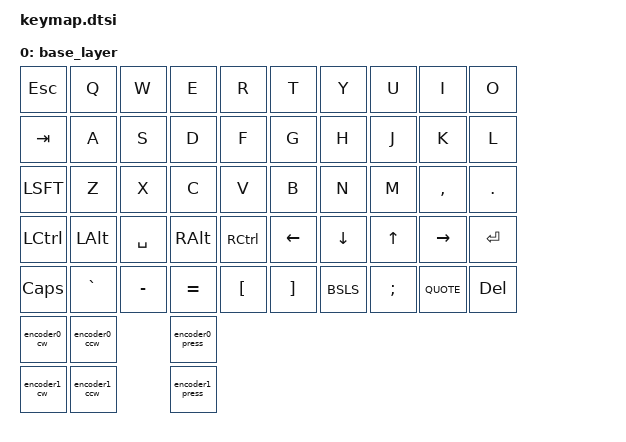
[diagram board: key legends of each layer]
/ {
    keymap {
        compatible = "zmk,keymap";

        base_layer {
            bindings = <
                &kp ESC    &kp Q     &kp W     &kp E     &kp R     &kp T     &kp Y     &kp U     &kp I     &kp O
                &kp TAB    &kp A     &kp S     &kp D     &kp F     &kp G     &kp H     &kp J     &kp K     &kp L
                &kp LSFT   &kp Z     &kp X     &kp C     &kp V     &kp B     &kp N     &kp M     &kp COMMA &kp DOT
                &kp LCTRL  &kp LALT  &kp SPACE &kp RALT  &kp RCTRL &kp LEFT  &kp DOWN  &kp UP    &kp RIGHT &kp ENTER
                &kp CAPS   &kp GRAVE &kp MINUS &kp EQUAL &kp LBKT  &kp RBKT  &kp BSLS  &kp SEMI  &kp QUOTE &kp DEL
                &encoder0_cw &encoder0_ccw &encoder0_press
                &encoder1_cw &encoder1_ccw &encoder1_press
            >;
        };
    };
};

